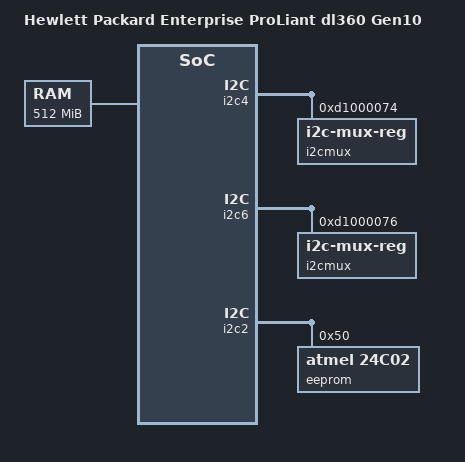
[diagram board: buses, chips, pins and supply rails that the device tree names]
// SPDX-License-Identifier: GPL-2.0
/*
 * Device Tree file for HPE DL360Gen10
 */

/include/ "hpe-gxp.dtsi"

/ {
	#address-cells = <1>;
	#size-cells = <1>;
	compatible = "hpe,gxp-dl360gen10", "hpe,gxp";
	model = "Hewlett Packard Enterprise ProLiant dl360 Gen10";

	aliases {
		serial0 = &uartc;
	};

	chosen {
		stdout-path = "serial0:115200n8";
	};

	memory@40000000 {
		device_type = "memory";
		reg = <0x40000000 0x20000000>;
	};

	i2cmux@4 {
		compatible = "i2c-mux-reg";
		i2c-parent = <&i2c4>;
		reg = <0xd1000074 1>;
		#address-cells = <1>;
		#size-cells = <0>;

		i2c4@1 {
			reg = <1>;
			#address-cells = <1>;
			#size-cells = <0>;
		};

		i2c4@3 {
			reg = <3>;
			#address-cells = <1>;
			#size-cells = <0>;
		};

		i2c4@4 {
			reg = <4>;
			#address-cells = <1>;
			#size-cells = <0>;
		};
	};

	i2cmux@6 {
		compatible = "i2c-mux-reg";
		i2c-parent = <&i2c6>;
		reg = <0xd1000076 1>;
		#address-cells = <1>;
		#size-cells = <0>;

		i2c6@1 {
			reg = <1>;
			#address-cells = <1>;
			#size-cells = <0>;
		};

		i2c6@2 {
			reg = <2>;
			#address-cells = <1>;
			#size-cells = <0>;
		};

		i2c6@3 {
			reg = <3>;
			#address-cells = <1>;
			#size-cells = <0>;
		};

		i2c6@4 {
			reg = <4>;
			#address-cells = <1>;
			#size-cells = <0>;
		};

		i2c6@5 {
			reg = <5>;
			#address-cells = <1>;
			#size-cells = <0>;
		};
	};
};

&i2c2 {
	eeprom@50 {
		compatible = "atmel,24c02";
		pagesize = <8>;
		reg = <0x50>;
	};
};
